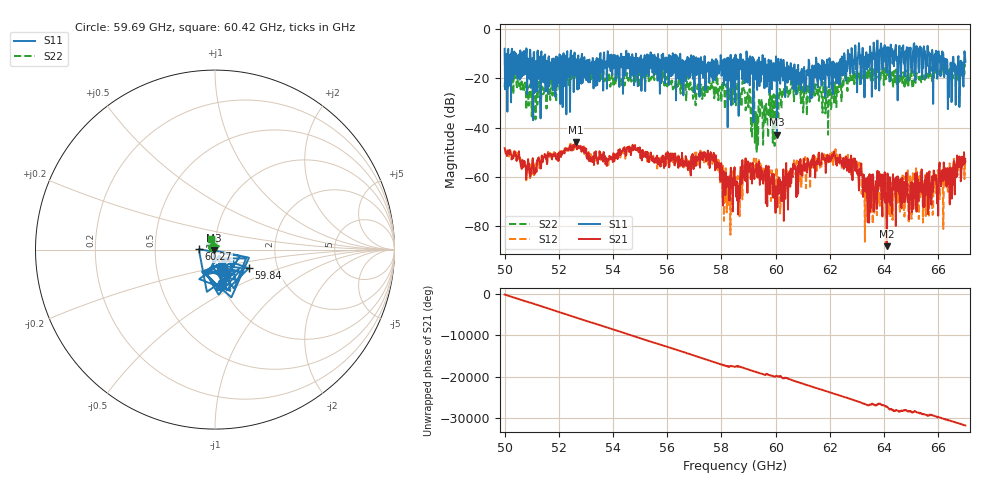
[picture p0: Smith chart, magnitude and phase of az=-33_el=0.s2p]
!Created with skrf (http://scikit-rf.org).
# GHz S RI R 50.0
!freq ReS11 ImS11 ReS21 ImS21 ReS12 ImS12 ReS22 ImS22
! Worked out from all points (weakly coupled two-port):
!   1001 points, 50 GHz to 67 GHz, reference 50 ohm
!   highest |S21| = -45.91 dB at 52.62 GHz (marker M1); lowest = -88.2 dB at 64.09 GHz (marker M2)
!   lowest |S11| = -42.8 dB at 60.05 GHz (marker M3), VSWR 1.01, Z = 49.5 - j0.467 ohm
!   |S11| at or under -10 dB: 51.36 GHz to 52.17 GHz (809.6 MHz wide, 1.56 % of centre); 56.48 GHz to 58.92 GHz (2.446 GHz wide, 4.24 % of centre); 58.93 GHz to 62.53 GHz (3.598 GHz wide, 5.93 % of centre) (the widest 3 of 67)
!   |S22| runs from -50.2 to -13.3 dB; largest |S21 - S12| = 0.0022
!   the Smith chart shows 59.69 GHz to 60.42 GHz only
!   S11 on the Smith chart (normalised r, x): 59.69 GHz: 1.01, -0.39; 59.84 GHz: 1.42, -0.31; 60.27 GHz: 0.83, +0.00; 60.42 GHz: 0.96, -0.42
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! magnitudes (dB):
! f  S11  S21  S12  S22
! 50 GHz  -7.9  -48.4  -49.1  -23.5
! 50.88 GHz  -15.5  -54.6  -57.3  -31.1
! 52.62 GHz  -12.0  -45.9  -45.2  -17.4
! 52.84 GHz  -11.0  -49.8  -50.0  -19.7
! 55.68 GHz  -13.7  -52.6  -54.5  -20.7
! 57.67 GHz  -13.9  -53.2  -54.7  -22.3
! 58.18 GHz  -16.4  -64.6  -60.9  -22.3
! 58.5 GHz  -29.7  -62.7  -61.3  -24.5
! 59.3 GHz  -15.2  -54.7  -57.9  -50.2
! 59.69 GHz  -14.4  -71.9  -64.9  -35.0
! 59.84 GHz  -13.3  -59.9  -61.9  -27.0
! 60.05 GHz  -42.8  -66.6  -72.2  -29.5
! 60.27 GHz  -20.9  -63.0  -67.4  -26.8
! 60.42 GHz  -13.5  -63.3  -57.7  -24.0
! 61.34 GHz  -27.8  -55.4  -56.2  -26.5
! 62.63 GHz  -17.0  -57.6  -56.0  -23.1
! 63.34 GHz  -9.3  -60.6  -69.1  -17.5
! 64.09 GHz  -17.7  -88.2  -65.6  -15.6
! 64.18 GHz  -12.0  -64.2  -75.1  -17.6
! 65.72 GHz  -11.1  -64.5  -66.4  -16.2
! 66.44 GHz  -18.8  -56.3  -55.6  -16.1
! 67 GHz  -13.3  -53.6  -52.4  -14.2
